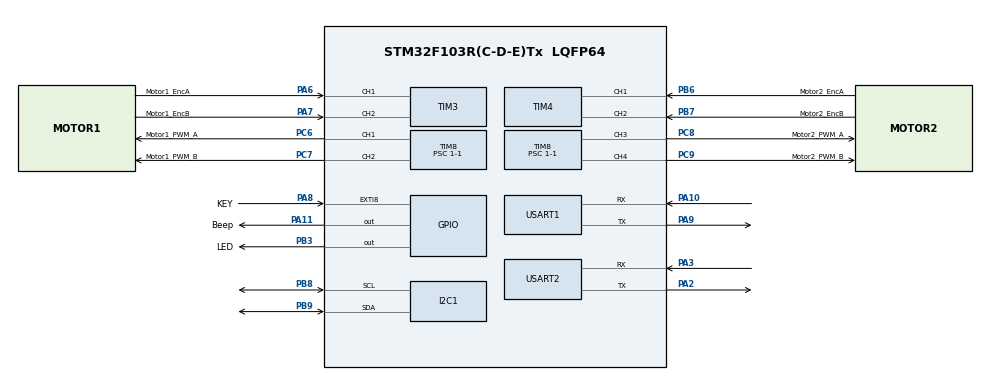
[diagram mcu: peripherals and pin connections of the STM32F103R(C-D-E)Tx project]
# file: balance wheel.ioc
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Dma.Request0=USART1_RX
Dma.Request1=USART1_TX
Dma.Request2=USART2_RX
Dma.USART1_RX.0.Direction=DMA_PERIPH_TO_MEMORY
Dma.USART1_RX.0.Instance=DMA1_Channel5
Dma.USART1_RX.0.MemDataAlignment=DMA_MDATAALIGN_BYTE
Dma.USART1_RX.0.MemInc=DMA_MINC_ENABLE
Dma.USART1_RX.0.Mode=DMA_NORMAL
Dma.USART1_RX.0.PeriphDataAlignment=DMA_PDATAALIGN_BYTE
Dma.USART1_RX.0.PeriphInc=DMA_PINC_DISABLE
Dma.USART1_RX.0.Priority=DMA_PRIORITY_LOW
Dma.USART1_TX.1.Direction=DMA_MEMORY_TO_PERIPH
Dma.USART1_TX.1.Instance=DMA1_Channel4
Dma.USART1_TX.1.MemDataAlignment=DMA_MDATAALIGN_BYTE
Dma.USART1_TX.1.MemInc=DMA_MINC_ENABLE
Dma.USART1_TX.1.Mode=DMA_NORMAL
Dma.USART1_TX.1.PeriphDataAlignment=DMA_PDATAALIGN_BYTE
Dma.USART1_TX.1.PeriphInc=DMA_PINC_DISABLE
Dma.USART1_TX.1.Priority=DMA_PRIORITY_LOW
Dma.USART2_RX.2.Direction=DMA_PERIPH_TO_MEMORY
Dma.USART2_RX.2.Instance=DMA1_Channel6
Dma.USART2_RX.2.MemDataAlignment=DMA_MDATAALIGN_BYTE
Dma.USART2_RX.2.MemInc=DMA_MINC_ENABLE
Dma.USART2_RX.2.Mode=DMA_NORMAL
Dma.USART2_RX.2.PeriphDataAlignment=DMA_PDATAALIGN_BYTE
Dma.USART2_RX.2.PeriphInc=DMA_PINC_DISABLE
Dma.USART2_RX.2.Priority=DMA_PRIORITY_LOW
FREERTOS.Tasks01=DebugTask,24,128,StartDebugTask,Default,NULL,Dynamic,NULL,NULL;OLEDTask,8,128,StartOLEDTask,Default,NULL,Dynamic,NULL,NULL;MotorTask,8,128,StartMotorTask,Default,NULL,Dynamic,NULL,NULL
I2C1.I2C_Mode=I2C_Fast
Mcu.Family=STM32F1
Mcu.Name=STM32F103R(C-D-E)Tx
Mcu.Package=LQFP64
NVIC.DMA1_Channel4_IRQn=true\:5\:0\:false\:false\:true\:true\:false\:true\:true
NVIC.DMA1_Channel5_IRQn=true\:5\:0\:false\:false\:true\:true\:false\:true\:true
NVIC.DMA1_Channel6_IRQn=true\:5\:0\:false\:false\:true\:true\:false\:true\:true
NVIC.EXTI9_5_IRQn=true\:5\:0\:false\:false\:true\:true\:true\:true\:true
NVIC.I2C1_ER_IRQn=true\:5\:0\:false\:false\:true\:true\:true\:true\:true
NVIC.I2C1_EV_IRQn=true\:5\:0\:false\:false\:true\:true\:true\:true\:true
NVIC.PriorityGroup=NVIC_PRIORITYGROUP_4
NVIC.TIM3_IRQn=true\:5\:0\:false\:false\:true\:true\:true\:true\:true
NVIC.TIM4_IRQn=true\:5\:0\:false\:false\:true\:true\:true\:true\:true
NVIC.TIM6_IRQn=true\:15\:0\:false\:false\:true\:false\:false\:true\:true
NVIC.TimeBase=TIM6_IRQn
NVIC.TimeBaseIP=TIM6
NVIC.USART2_IRQn=true\:5\:0\:false\:false\:true\:true\:true\:true\:true
PA10.Mode=Asynchronous
PA10.Signal=USART1_RX
PA11.GPIO_Label=Beep
PA11.PinState=GPIO_PIN_RESET
PA11.Signal=GPIO_Output
PA13.Mode=Serial_Wire
PA13.Signal=SYS_JTMS-SWDIO
PA14.Mode=Serial_Wire
PA14.Signal=SYS_JTCK-SWCLK
PA2.Mode=Asynchronous
PA2.Signal=USART2_TX
PA3.Mode=Asynchronous
PA3.Signal=USART2_RX
PA6.GPIO_Label=Motor1_EncA
PA6.Signal=S_TIM3_CH1
PA7.GPIO_Label=Motor1_EncB
PA7.Signal=S_TIM3_CH2
PA8.GPIO_Label=KEY
PA8.Signal=GPXTI8
PA9.Mode=Asynchronous
PA9.Signal=USART1_TX
PB3.GPIO_Label=LED
PB3.Signal=GPIO_Output
PB6.GPIO_Label=Motor2_EncA
PB6.Signal=S_TIM4_CH1
PB7.GPIO_Label=Motor2_EncB
PB7.Signal=S_TIM4_CH2
PB8.Mode=I2C
PB8.Signal=I2C1_SCL
PB9.Mode=I2C
PB9.Signal=I2C1_SDA
PC6.GPIO_Label=Motor1_PWM_A
PC6.Signal=S_TIM8_CH1
PC7.GPIO_Label=Motor1_PWM_B
PC7.Signal=S_TIM8_CH2
PC8.GPIO_Label=Motor2_PWM_A
PC8.Signal=S_TIM8_CH3
PC9.GPIO_Label=Motor2_PWM_B
PC9.Signal=S_TIM8_CH4
ProjectManager.HeapSize=0x200
ProjectManager.StackSize=0x400
ProjectManager.TargetToolchain=STM32CubeIDE
RCC.APB1Freq_Value=8000000
RCC.APB2Freq_Value=8000000
SH.S_TIM3_CH1.0=TIM3_CH1,Encoder_Interface
SH.S_TIM3_CH2.0=TIM3_CH2,Encoder_Interface
SH.S_TIM4_CH1.0=TIM4_CH1,Encoder_Interface
SH.S_TIM4_CH2.0=TIM4_CH2,Encoder_Interface
SH.S_TIM8_CH1.0=TIM8_CH1,PWM Generation1 CH1
SH.S_TIM8_CH2.0=TIM8_CH2,PWM Generation2 CH2
SH.S_TIM8_CH3.0=TIM8_CH3,PWM Generation3 CH3
SH.S_TIM8_CH4.0=TIM8_CH4,PWM Generation4 CH4
TIM3.EncoderMode=TIM_ENCODERMODE_TI12
TIM3.IC1Filter=10
TIM3.IC2Filter=10
TIM4.EncoderMode=TIM_ENCODERMODE_TI12
TIM4.IC1Filter=10
TIM4.IC2Filter=10
TIM8.Channel-PWM\ Generation1\ CH1=TIM_CHANNEL_1
TIM8.Channel-PWM\ Generation2\ CH2=TIM_CHANNEL_2
TIM8.Channel-PWM\ Generation3\ CH3=TIM_CHANNEL_3
TIM8.Channel-PWM\ Generation4\ CH4=TIM_CHANNEL_4
TIM8.Period=2881-1
TIM8.Prescaler=1-1
USART1.VirtualMode=VM_ASYNC
USART2.VirtualMode=VM_ASYNC
VP_FREERTOS_VS_CMSIS_V2.Mode=CMSIS_V2
VP_SYS_VS_tim6.Mode=TIM6
board=custom

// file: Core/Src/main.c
/* USER CODE BEGIN Header */
/**
  ******************************************************************************
  * @file           : main.c
  * @brief          : Main program body
  ******************************************************************************
  * @attention
  *
  * Copyright (c) 2026 STMicroelectronics.
  * All rights reserved.
  *
  * This software is licensed under terms that can be found in the LICENSE file
  * in the root directory of this software component.
  * If no LICENSE file comes with this software, it is provided AS-IS.
  *
  ******************************************************************************
  */
/* USER CODE END Header */
#include "main.h"
#include "cmsis_os.h"
#include "dma.h"
#include "i2c.h"
#include "tim.h"
#include "usart.h"
#include "gpio.h"

/* USER CODE BEGIN Includes */
#include "oled.h"
#include "mpu6050.h"
/* USER CODE END Includes */

void SystemClock_Config(void);
void MX_FREERTOS_Init(void);

int main(void)
{

  /* MCU Configuration--------------------------------------------------------*/

  /* Reset of all peripherals, Initializes the Flash interface and the Systick. */
  HAL_Init();

  /* Configure the system clock */
  SystemClock_Config();

  /* Initialize all configured peripherals */
  MX_GPIO_Init();
  MX_DMA_Init();
  MX_USART1_UART_Init();
  MX_TIM8_Init();
  MX_TIM3_Init();
  MX_TIM4_Init();
  MX_USART2_UART_Init();
  MX_I2C1_Init();
  /* USER CODE BEGIN 2 */
  // 初始化OLED
  HAL_Delay(1000);
  OLED_Init();
  // // 初始化MPU6050
  // HAL_Delay(100);
  // MPU6050_Init(&hi2c2);
  /* USER CODE END 2 */

  /* Init scheduler */
  osKernelInitialize();  /* Call init function for freertos objects (in cmsis_os2.c) */
  MX_FREERTOS_Init();

  /* Start scheduler */
  osKernelStart();

  /* We should never get here as control is now taken by the scheduler */

  /* Infinite loop */
  while (1)
  {

  }
}

void SystemClock_Config(void)
{
  RCC_OscInitTypeDef RCC_OscInitStruct = {0};
  RCC_ClkInitTypeDef RCC_ClkInitStruct = {0};

  /** Initializes the RCC Oscillators according to the specified parameters
  * in the RCC_OscInitTypeDef structure.
  */
  RCC_OscInitStruct.OscillatorType = RCC_OSCILLATORTYPE_HSI;
  RCC_OscInitStruct.HSIState = RCC_HSI_ON;
  RCC_OscInitStruct.HSICalibrationValue = RCC_HSICALIBRATION_DEFAULT;
  RCC_OscInitStruct.PLL.PLLState = RCC_PLL_NONE;
  if (HAL_RCC_OscConfig(&RCC_OscInitStruct) != HAL_OK)
  {
    Error_Handler();
  }

  /** Initializes the CPU, AHB and APB buses clocks
  */
  RCC_ClkInitStruct.ClockType = RCC_CLOCKTYPE_HCLK|RCC_CLOCKTYPE_SYSCLK
                              |RCC_CLOCKTYPE_PCLK1|RCC_CLOCKTYPE_PCLK2;
  RCC_ClkInitStruct.SYSCLKSource = RCC_SYSCLKSOURCE_HSI;
  RCC_ClkInitStruct.AHBCLKDivider = RCC_SYSCLK_DIV1;
  RCC_ClkInitStruct.APB1CLKDivider = RCC_HCLK_DIV1;
  RCC_ClkInitStruct.APB2CLKDivider = RCC_HCLK_DIV1;

  if (HAL_RCC_ClockConfig(&RCC_ClkInitStruct, FLASH_LATENCY_0) != HAL_OK)
  {
    Error_Handler();
  }
}

void HAL_TIM_PeriodElapsedCallback(TIM_HandleTypeDef *htim)
{
  if (htim->Instance == TIM6)
  {
    HAL_IncTick();
  }
  /* USER CODE BEGIN Callback 1 */
  else if(htim->Instance == TIM3)
  {
    // 处理TIM3溢出
  }
  else if(htim->Instance == TIM4)
  {
    // 处理TIM4溢出
  }
  /* USER CODE END Callback 1 */
}

void Error_Handler(void)
{
  __disable_irq();
  while (1)
  {
  }
}

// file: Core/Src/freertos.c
/* USER CODE BEGIN Header */
/**
 ******************************************************************************
 * File Name          : freertos.c
 * Description        : Code for freertos applications
 ******************************************************************************
 * @attention
 *
 * Copyright (c) 2026 STMicroelectronics.
 * All rights reserved.
 *
 * This software is licensed under terms that can be found in the LICENSE file
 * in the root directory of this software component.
 * If no LICENSE file comes with this software, it is provided AS-IS.
 *
 ******************************************************************************
 */
/* USER CODE END Header */

#include "FreeRTOS.h"
#include "task.h"
#include "main.h"
#include "cmsis_os.h"

/* USER CODE BEGIN Includes */
#include <stdio.h>
#include <string.h>

#include "encoder.h"
#include "motor.h"
// #include "mpu6050.h"
// #include "WT61C.h"
#include "oled.h"
#include "pid.h"
/* USER CODE END Includes */

/* USER CODE BEGIN PD */
uint8_t receiveData[32];

int16_t Encoder_Left = 0, Encoder_Right = 0;              // 速度编码
int16_t motor_L, motor_R;                                     // 电机速度
float Angle_Balance = 0, Gyro_Balance = 0, Gyro_Turn = 0; // mpu6050参数

// MPU6050_t MPU6050;
// uint8_t RxBuff[11]; // 接收缓冲区
uint8_t RxBuff[33]; // 接收缓冲区

float Angle_X, Angle_Y, Angle_Z;             // 角度数据
float Velocity_Angle_X, Velocity_Angle_Y , Velocity_Angle_Z;    // 角速度数据
float Acc_Angle_X, Acc_Angle_Y, Acc_Angle_Z; // 加速度
/* USER CODE END PD */

/* Definitions for DebugTask */
osThreadId_t DebugTaskHandle;
const osThreadAttr_t DebugTask_attributes = {
  .name = "DebugTask",
  .stack_size = 128 * 4,
  .priority = (osPriority_t) osPriorityNormal,
};
/* Definitions for OLEDTask */
osThreadId_t OLEDTaskHandle;
const osThreadAttr_t OLEDTask_attributes = {
  .name = "OLEDTask",
  .stack_size = 128 * 4,
  .priority = (osPriority_t) osPriorityLow,
};
/* Definitions for MotorTask */
osThreadId_t MotorTaskHandle;
const osThreadAttr_t MotorTask_attributes = {
  .name = "MotorTask",
  .stack_size = 128 * 4,
  .priority = (osPriority_t) osPriorityLow,
};

void StartDebugTask(void *argument);
void StartOLEDTask(void *argument);
void StartMotorTask(void *argument);

void MX_FREERTOS_Init(void); /* (MISRA C 2004 rule 8.1) */

void MX_FREERTOS_Init(void) {

  /* Create the thread(s) */
  /* creation of DebugTask */
  DebugTaskHandle = osThreadNew(StartDebugTask, NULL, &DebugTask_attributes);

  /* creation of OLEDTask */
  OLEDTaskHandle = osThreadNew(StartOLEDTask, NULL, &OLEDTask_attributes);

  /* creation of MotorTask */
  MotorTaskHandle = osThreadNew(StartMotorTask, NULL, &MotorTask_attributes);

}

void StartDebugTask(void *argument)
{
  /* USER CODE BEGIN StartDebugTask */

    // 启动UART2的DMA接收
    HAL_UARTEx_ReceiveToIdle_DMA(&huart2, RxBuff, sizeof(RxBuff));

    // 启动TIM8基础定时器
    HAL_TIM_Base_Start(&htim8);

    // 启动TIM8的四个PWM通道
    HAL_TIM_PWM_Start(&htim8, TIM_CHANNEL_1);
    HAL_TIM_PWM_Start(&htim8, TIM_CHANNEL_2);
    HAL_TIM_PWM_Start(&htim8, TIM_CHANNEL_3);
    HAL_TIM_PWM_Start(&htim8, TIM_CHANNEL_4);

    // 初始化PWM
    __HAL_TIM_SET_COMPARE(&htim8, TIM_CHANNEL_1, 0); // Motor1 正转 PWM
    __HAL_TIM_SET_COMPARE(&htim8, TIM_CHANNEL_2, 0); // Motor1 反转 PWM
    __HAL_TIM_SET_COMPARE(&htim8, TIM_CHANNEL_3, 0); // Motor2 正转 PWM
    __HAL_TIM_SET_COMPARE(&htim8, TIM_CHANNEL_4, 0); // Motor2 反转 PWM

    // 启动编码定时器
    HAL_TIM_Encoder_Start(&htim3, TIM_CHANNEL_ALL);
    HAL_TIM_Encoder_Start(&htim4, TIM_CHANNEL_ALL);

    /* Infinite loop */
    for (;;)
    {
        HAL_GPIO_TogglePin(LED_GPIO_Port, LED_Pin);
        sprintf((char *)receiveData,
                "Lv:%d\t Rv:%d\r\n", motor_L, motor_R);
        HAL_UART_Transmit(&huart1, receiveData, sizeof(receiveData), 100);
        memset(receiveData, 0, sizeof(receiveData));
        // HAL_GPIO_TogglePin(Beep_GPIO_Port, Beep_Pin);
        osDelay(1000);
    }
  /* USER CODE END StartDebugTask */
}

void StartOLEDTask(void *argument)
{
  /* USER CODE BEGIN StartOLEDTask */
    /* Infinite loop */
    for (;;)
    {
        // Angle_Balance = MPU6050.KalmanAngleY;
        // Gyro_Balance = MPU6050.Gy;
        // Gyro_Turn = MPU6050.Gz;

        OLED_NewFrame();
        char strBuffer[32];
        // sprintf(strBuffer, "X:%d", (int)(Acc_Angle_X * 100));
        // OLED_PrintString(0, 0, strBuffer, &font16x16, OLED_COLOR_NORMAL);
        // sprintf(strBuffer, "Y:%d", (int)(Acc_Angle_Y * 100));
        // OLED_PrintString(0, 16, strBuffer, &font16x16, OLED_COLOR_NORMAL);
        // sprintf(strBuffer, "Z:%d", (int)(Acc_Angle_Z * 100));
        // OLED_PrintString(0, 32, strBuffer, &font16x16, OLED_COLOR_NORMAL);

        // sprintf(strBuffer, "X:%d", (int)(Angle_X * 100));
        // OLED_PrintString(0, 0, strBuffer, &font16x16, OLED_COLOR_NORMAL);
        // sprintf(strBuffer, "Y:%d", (int)(Angle_Y * 100));
        // OLED_PrintString(0, 16, strBuffer, &font16x16, OLED_COLOR_NORMAL);
        // sprintf(strBuffer, "Z:%d", (int)(Angle_Z * 100));
        // OLED_PrintString(0, 32, strBuffer, &font16x16, OLED_COLOR_NORMAL);

        sprintf(strBuffer, "L:%d", motor_L);
        OLED_PrintString(0, 0, strBuffer, &font16x16, OLED_COLOR_NORMAL);
        sprintf(strBuffer, "R:%d", motor_R);
        OLED_PrintString(0, 16, strBuffer, &font16x16, OLED_COLOR_NORMAL);

        OLED_ShowFrame();
        osDelay(100);
    }
  /* USER CODE END StartOLEDTask */
}

void StartMotorTask(void *argument)
{
  /* USER CODE BEGIN StartMotorTask */
    int Balance_Pwm, Velocity_Pwm, Turn_Pwm;

    Angle_Balance = Angle_Y;
    Gyro_Balance = Acc_Angle_X;
    /* Infinite loop */
    for (;;)
    {

        Encoder_Left = Read_Encoder(MOTOR_ID_ML);
        Encoder_Right = -Read_Encoder(MOTOR_ID_MR);

        // Position_L +=Encoder_Left;
        // Position_R +=Encoder_Right;

        Balance_Pwm = Balance_PD(Angle_Balance, Gyro_Balance);   // 平衡PID控制
        Velocity_Pwm = Velocity_PI(Encoder_Left, Encoder_Right); // 速度环PID控制
        Turn_Pwm = Turn_PD(Gyro_Turn);                           // 转向环PID控制

        motor_L = (Balance_Pwm + Velocity_Pwm + Turn_Pwm); // 计算左轮电机最终PWM Calculate the final PWM of the left wheel motor
        motor_R = Balance_Pwm + Velocity_Pwm - Turn_Pwm; // 计算右轮电机最终PWM Calculate the final PWM of the right wheel motor
        motor_L /= 10;
        motor_R /= 10;
        Motor_SetPWM(motor_L,motor_R);
        osDelay(10);
    }
  /* USER CODE END StartMotorTask */
}

/* USER CODE BEGIN Application */
// int _write(int fd, char *ptr, int len)
// {
//     HAL_UART_Transmit(&huart2, (uint8_t *)ptr, len, HAL_MAX_DELAY);
//     return len;
// }
void HAL_GPIO_EXTI_Callback(uint16_t GPIO_Pin)
{
    if (GPIO_Pin == KEY_Pin)
    {
        osDelay(10);
        if (GPIO_Pin == KEY_Pin)
        {
            HAL_GPIO_TogglePin(Beep_GPIO_Port, Beep_Pin);
        }
    }
}

// void HAL_UARTEx_RxEventCallback(UART_HandleTypeDef *huart, uint16_t Size)
// {
//     if (huart->Instance == USART2)
//     {
//         // 检查接收到的数据长度是否正确
//         if (RxBuff[0] == 0x55 && Size == 33)
//         {
//             switch (RxBuff[1])
//             {
//             case 0x53:
//                 Angle_X = ((short)(RxBuff[3] << 8 | RxBuff[2])) / 32768.0 * 180;
//                 Angle_Y = ((short)(RxBuff[5] << 8 | RxBuff[4])) / 32768.0 * 180;
//                 Angle_Z = ((short)(RxBuff[7] << 8 | RxBuff[6])) / 32768.0 * 180;
//                 break;
//             case 0x52:
//                 Velocity_Angle_X = ((short)(RxBuff[3] << 8 | RxBuff[2])) / 32768.0 * 2000;
//                 Velocity_Angle_Y = ((short)(RxBuff[5] << 8 | RxBuff[4])) / 32768.0 * 2000;
//                 break;
//             case 0x51:
//                 Acc_Angle_X = ((short)(RxBuff[3] << 8 | RxBuff[2])) / 32768.0 * 16 * 9.8;
//                 Acc_Angle_Y = ((short)(RxBuff[5] << 8 | RxBuff[4])) / 32768.0 * 16 * 9.8;
//                 Acc_Angle_Z = ((short)(RxBuff[7] << 8 | RxBuff[6])) / 32768.0 * 16 * 9.8;
//                 break;
//             default:
//                 break;
//             }
//         }

//         // 清空接收缓冲区
//         memset(RxBuff, 0, sizeof(RxBuff));

//         // 清除 IDLE 中断标志
//         __HAL_UART_CLEAR_IDLEFLAG(huart);

//         // 重新启动DMA接收
//         HAL_UARTEx_ReceiveToIdle_DMA(&huart2, RxBuff, sizeof(RxBuff));

//         // 禁止半传送中断
//         __HAL_DMA_DISABLE_IT(&hdma_usart2_rx, DMA_IT_HT);
//     }
// }

void HAL_UARTEx_RxEventCallback(UART_HandleTypeDef *huart, uint16_t Size)
{
    if (huart->Instance == USART2) {

    uint16_t i = 0;

    // 在接收到的数据中找所有完整的 WT61C 数据包
    while (i + 11 <= Size) {
        // 找包头 0x55
        if (RxBuff[i] == 0x55) {
            // 校验和检查
            uint8_t sum = 0;
            for (int j = 0; j < 10; j++) sum += RxBuff[i + j];

            if (sum == RxBuff[i + 10]) {
                // 校验通过，解析这 11 字节
                int16_t temp;
                uint8_t type = RxBuff[i + 1];

                switch (type) {
                    case 0x51: // 加速度包
                        temp = (RxBuff[i+3] << 8) | RxBuff[i+2];
                        Acc_Angle_X = temp / 32768.0f * 16.0f * 9.8f;
                        temp = (RxBuff[i+5] << 8) | RxBuff[i+4];
                        Acc_Angle_Y = temp / 32768.0f * 16.0f * 9.8f;
                        temp = (RxBuff[i+7] << 8) | RxBuff[i+6];
                        Acc_Angle_Z = temp / 32768.0f * 16.0f * 9.8f;
                        break;

                    case 0x52: // 角速度包
                        temp = (RxBuff[i+3] << 8) | RxBuff[i+2];
                        Velocity_Angle_X = temp / 32768.0f * 2000.0f;
                        temp = (RxBuff[i+5] << 8) | RxBuff[i+4];
                        Velocity_Angle_Y = temp / 32768.0f * 2000.0f;
                        // temp = (RxBuff[i+7] << 8) | RxBuff[i+6];
                        // Velocity_Angle_Z = temp / 32768.0f * 2000.0f;
                        break;

                    case 0x53: // 角度包
                        temp = (RxBuff[i+3] << 8) | RxBuff[i+2];
                        Angle_X = temp / 32768.0f * 180.0f;
                        temp = (RxBuff[i+5] << 8) | RxBuff[i+4];
                        Angle_Y = temp / 32768.0f * 180.0f;
                        temp = (RxBuff[i+7] << 8) | RxBuff[i+6];
                        Angle_Z = temp / 32768.0f * 180.0f;
                        break;
                }
                i += 11;  // 跳到下一个包
                continue;
            }
        }
        i++;  // 不是包头或校验失败，滑动一个字节
    }
  }

    // 清除 IDLE 标志并重启 DMA
    __HAL_UART_CLEAR_IDLEFLAG(huart);
    HAL_UARTEx_ReceiveToIdle_DMA(&huart2, RxBuff, sizeof(RxBuff));
    __HAL_DMA_DISABLE_IT(&hdma_usart2_rx, DMA_IT_HT);
}
/* USER CODE END Application */
